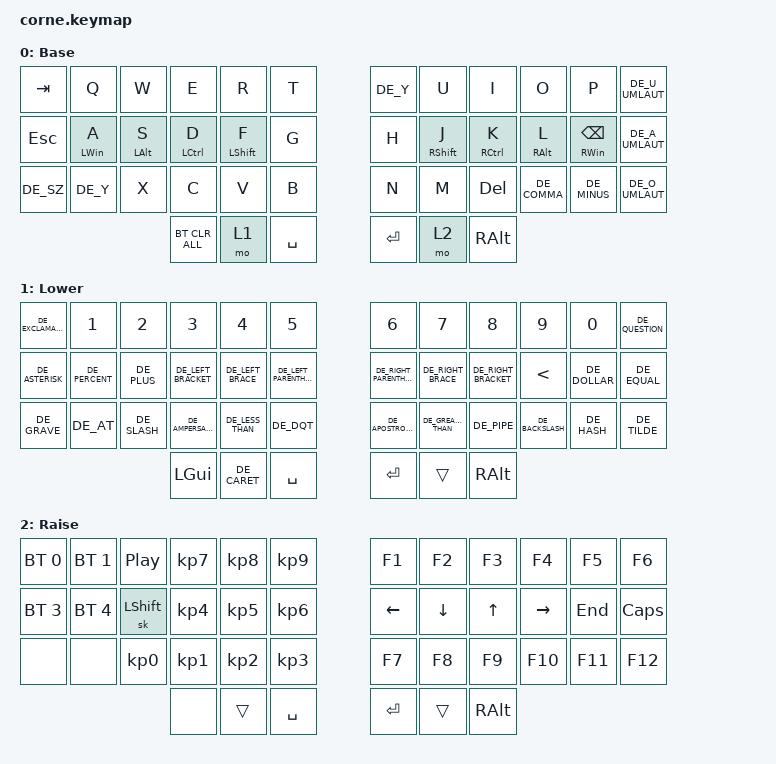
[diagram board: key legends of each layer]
/*
 * Copyright (c) 2020 The ZMK Contributors
 *
 * SPDX-License-Identifier: MIT
 */

#include <behaviors.dtsi>
#include <dt-bindings/zmk/bt.h>
#include <dt-bindings/zmk/keys.h>
#include "keys_de.h"

/ {
    behaviors {
        hml: home_row_mod_left {
            compatible = "zmk,behavior-hold-tap";
            #binding-cells = <2>;
            flavor = "balanced";
            require-prior-idle-ms = <0>;
            tapping-term-ms = <200>;
            quick-tap-ms = <150>;
            bindings = <&kp>, <&kp>;
            hold-trigger-key-positions = <6 7 8 9 10 11 18 19 20 21 22 23 30 31 32 33 34 35 39 40 41>;
        };

        hmr: home_row_mod_right {
            compatible = "zmk,behavior-hold-tap";
            #binding-cells = <2>;
            flavor = "balanced";
            require-prior-idle-ms = <0>;
            tapping-term-ms = <200>;
            quick-tap-ms = <150>;
            bindings = <&kp>, <&kp>;
            hold-trigger-key-positions = <0 1 2 3 4 5 12 13 14 15 16 17 24 25 26 27 28 29 36 37 38>;
        };
    };

    keymap {
        compatible = "zmk,keymap";

        default_layer {

            display-name = "Base";
            bindings = <
&kp TAB     &kp Q            &kp W            &kp E                &kp R              &kp T        &kp DE_Y    &kp U               &kp I         &kp O             &kp P                     &kp DE_U_UMLAUT
&kp ESCAPE  &hml LEFT_WIN A  &hml LEFT_ALT S  &hml LEFT_CONTROL D  &hml LEFT_SHIFT F  &kp G        &kp H    &hmr RIGHT_SHIFT J  &hmr RCTRL K  &hmr RIGHT_ALT L  &hmr RIGHT_WIN BACKSPACE  &kp DE_A_UMLAUT
&kp DE_SZ   &kp DE_Y            &kp X            &kp C                &kp V              &kp B        &kp N    &kp M               &kp DELETE  &kp DE_COMMA       &kp DE_MINUS                 &kp DE_O_UMLAUT
                                              &bt BT_CLR_ALL                &mo 1              &kp SPACE    &kp RET  &mo 2               &kp RALT
            >;
        };

        lower_layer {

            display-name = "Lower";
            bindings = <
&kp DE_EXCLAMATION  &kp N1       &kp N2        &kp N3            &kp N4          &kp N5                  &kp N6                 &kp N7            &kp N8             &kp N9                &kp N0      &kp DE_QUESTION
&kp DE_ASTERISK     &kp DE_PERCENT  &kp DE_PLUS      &kp DE_LEFT_BRACKET  &kp DE_LEFT_BRACE  &kp DE_LEFT_PARENTHESIS    &kp DE_RIGHT_PARENTHESIS  &kp DE_RIGHT_BRACE   &kp DE_RIGHT_BRACKET  &kp LT             &kp DE_DOLLAR  &kp DE_EQUAL
&kp DE_GRAVE        &kp DE_AT  &kp DE_SLASH  &kp DE_AMPERSAND     &kp DE_LESS_THAN   &kp DE_DQT &kp DE_APOSTROPHE                &kp DE_GREATER_THAN  &kp DE_PIPE           &kp DE_BACKSLASH  &kp DE_HASH    &kp DE_TILDE
                                            &kp LGUI          &kp DE_CARET       &kp SPACE               &kp RET                &trans            &kp RALT
            >;
        };

        raise_layer {

            display-name = "Raise";
            bindings = <
&bt BT_SEL 0  &bt BT_SEL 1  &kp C_PLAY_PAUSE  &kp KP_NUMBER_7  &kp KP_NUMBER_8  &kp KP_NUMBER_9    &kp F1    &kp F2          &kp F3        &kp F4     &kp F5   &kp F6
&bt BT_SEL 3  &bt BT_SEL 4  &sk LSHIFT             &kp KP_NUMBER_4  &kp KP_NUMBER_5  &kp KP_NUMBER_6    &kp LEFT  &kp DOWN_ARROW  &kp UP_ARROW  &kp RIGHT  &kp END  &kp CAPS
&none         &none         &kp KP_NUMBER_0   &kp KP_NUMBER_1  &kp KP_NUMBER_2  &kp KP_NUMBER_3    &kp F7    &kp F8          &kp F9        &kp F10    &kp F11  &kp F12
                                              &none            &trans           &kp SPACE          &kp RET   &trans          &kp RALT
            >;
        };


        extra_1 { status = "reserved"; };

        extra_2 { status = "reserved"; };

        extra_3 { status = "reserved"; };
    };
};
